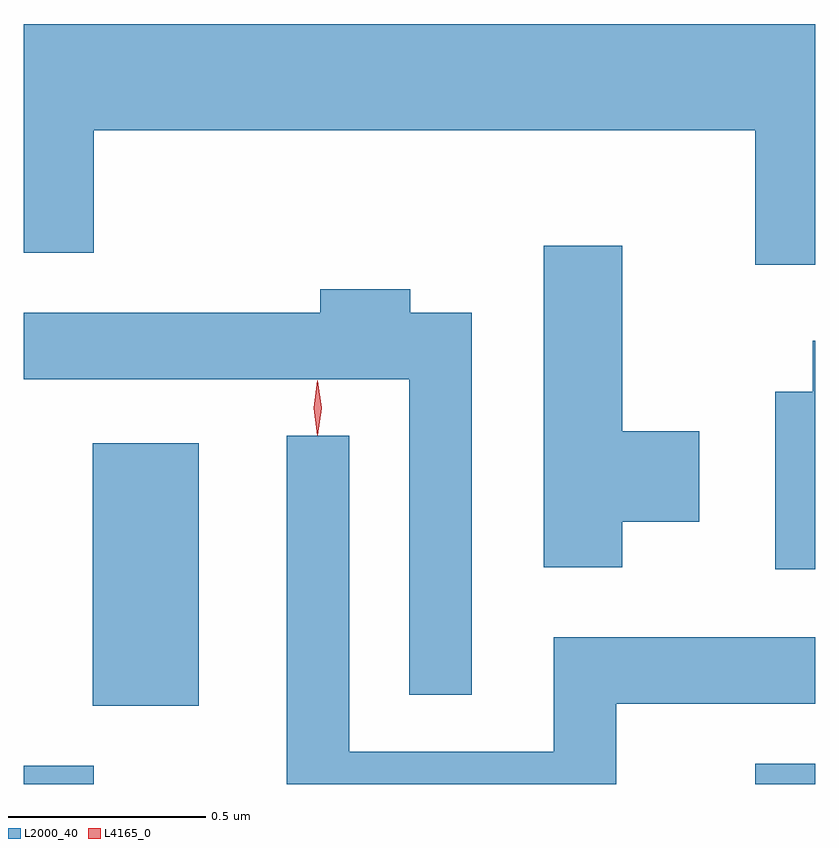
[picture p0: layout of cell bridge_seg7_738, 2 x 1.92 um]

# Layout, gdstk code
import gdstk
lib = gdstk.Library(unit=1e-6, precision=1e-09)
def R(c, l, rs):  # rectangles x0, y0, x1, y1
    for r in rs: c.add(gdstk.rectangle(r[:2], r[2:], *l))
def P(c, l, *ps):  # polygons
    for p in ps: c.add(gdstk.Polygon(p, *l))
L2000_40 = (2000, 40)
L4165_0 = (4165, 0)

bridge_seg7_738 = lib.new_cell('bridge_seg7_738')
R(bridge_seg7_738, L2000_40, [(607.292,1803.683,607.469,1803.729), (609.141,1803.683,609.292,1803.734), (607.466,1803.881,607.734,1804.544)])
P(bridge_seg7_738, L2000_40, [(609.292,1805.604),(607.292,1805.604),(607.292,1805.026),(607.469,1805.026),(607.469,1805.336),(609.141,1805.336),(609.141,1804.996),(609.292,1804.996)],
  [(608.804,1804.346),(608.999,1804.346),(608.999,1804.574),(608.804,1804.574),(608.804,1805.044),(608.606,1805.044),(608.606,1804.231),(608.804,1804.231)],
  [(608.424,1804.874),(608.269,1804.874),(608.269,1804.934),(608.041,1804.934),(608.041,1804.874),(607.292,1804.874),(607.292,1804.706),(608.266,1804.706),(608.266,1803.908),(608.424,1803.908)],
  [(609.292,1804.804),(609.286,1804.804),(609.286,1804.674),(609.191,1804.674),(609.191,1804.226),(609.292,1804.226)],
  [(608.789,1803.886),(609.292,1803.886),(609.292,1804.054),(608.631,1804.054),(608.631,1803.764),(608.114,1803.764),(608.114,1804.563),(607.956,1804.563),(607.956,1803.683),(608.789,1803.683)])
P(bridge_seg7_738, L4165_0, [(608.035,1804.563),(608.034,1804.564),(608.025,1804.633),(608.034,1804.702),(608.035,1804.703),(608.035,1804.702),(608.045,1804.633),(608.035,1804.564)],
  [(608.035,1804.567),(608.034,1804.568),(608.025,1804.634),(608.034,1804.7),(608.035,1804.701),(608.035,1804.7),(608.045,1804.634),(608.035,1804.568)])

lib.write_gds('bridge_seg7_738.gds')
